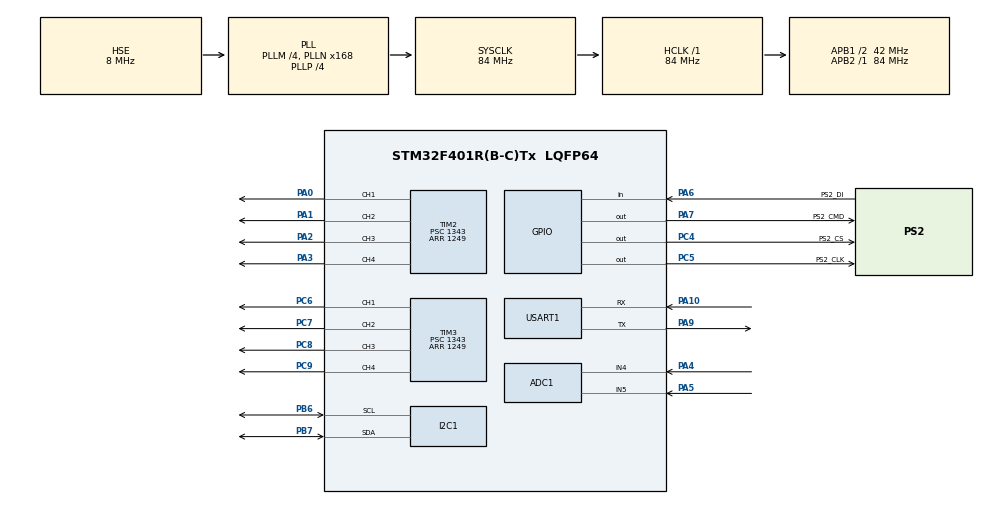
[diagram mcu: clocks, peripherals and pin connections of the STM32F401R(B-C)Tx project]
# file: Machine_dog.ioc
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ADC1.Channel-1\#ChannelRegularConversion=ADC_CHANNEL_4
ADC1.NbrOfConversionFlag=1
ADC1.Rank-1\#ChannelRegularConversion=1
ADC1.SamplingTime-1\#ChannelRegularConversion=ADC_SAMPLETIME_3CYCLES
ADC1.master=1
Mcu.Family=STM32F4
Mcu.Name=STM32F401R(B-C)Tx
Mcu.Package=LQFP64
NVIC.PriorityGroup=NVIC_PRIORITYGROUP_4
NVIC.TIM1_UP_TIM10_IRQn=true\:0\:0\:false\:false\:true\:true\:true\:true
NVIC.TIM5_IRQn=true\:0\:0\:false\:false\:true\:true\:true\:true
PA0-WKUP.Signal=S_TIM2_CH1_ETR
PA1.Signal=S_TIM2_CH2
PA10.Mode=Asynchronous
PA10.Signal=USART1_RX
PA13.Mode=Serial_Wire
PA13.Signal=SYS_JTMS-SWDIO
PA14.Mode=Serial_Wire
PA14.Signal=SYS_JTCK-SWCLK
PA2.Signal=S_TIM2_CH3
PA3.Signal=S_TIM2_CH4
PA4.Signal=ADCx_IN4
PA5.Signal=ADCx_IN5
PA6.GPIO_Label=PS2_DI
PA6.GPIO_PuPd=GPIO_PULLUP
PA6.Signal=GPIO_Input
PA7.GPIO_Label=PS2_CMD
PA7.GPIO_Speed=GPIO_SPEED_FREQ_HIGH
PA7.PinState=GPIO_PIN_SET
PA7.Signal=GPIO_Output
PA9.Mode=Asynchronous
PA9.Signal=USART1_TX
PB6.Mode=I2C
PB6.Signal=I2C1_SCL
PB7.Mode=I2C
PB7.Signal=I2C1_SDA
PC4.GPIO_Label=PS2_CS
PC4.GPIO_Speed=GPIO_SPEED_FREQ_HIGH
PC4.PinState=GPIO_PIN_SET
PC4.Signal=GPIO_Output
PC5.GPIO_Label=PS2_CLK
PC5.GPIO_Speed=GPIO_SPEED_FREQ_HIGH
PC5.PinState=GPIO_PIN_SET
PC5.Signal=GPIO_Output
PC6.Signal=S_TIM3_CH1
PC7.Signal=S_TIM3_CH2
PC8.Signal=S_TIM3_CH3
PC9.Signal=S_TIM3_CH4
PH0\ -\ OSC_IN.Mode=HSE-External-Oscillator
PH0\ -\ OSC_IN.Signal=RCC_OSC_IN
PH1\ -\ OSC_OUT.Mode=HSE-External-Oscillator
PH1\ -\ OSC_OUT.Signal=RCC_OSC_OUT
ProjectManager.HeapSize=0x200
ProjectManager.StackSize=0x400
ProjectManager.TargetToolchain=MDK-ARM V5.32
RCC.48MHZClocksFreq_Value=48000000
RCC.AHBFreq_Value=84000000
RCC.APB1CLKDivider=RCC_HCLK_DIV2
RCC.APB1Freq_Value=42000000
RCC.APB1TimFreq_Value=84000000
RCC.APB2Freq_Value=84000000
RCC.APB2TimFreq_Value=84000000
RCC.CortexFreq_Value=84000000
RCC.HCLKFreq_Value=84000000
RCC.HSE_VALUE=8000000
RCC.HSI_VALUE=16000000
RCC.LSE_VALUE=32768
RCC.PLLM=4
RCC.PLLN=168
RCC.PLLP=RCC_PLLP_DIV4
RCC.PLLQ=7
RCC.PLLSourceVirtual=RCC_PLLSOURCE_HSE
RCC.SYSCLKFreq_VALUE=84000000
RCC.SYSCLKSource=RCC_SYSCLKSOURCE_PLLCLK
RCC.VCOOutputFreq_Value=336000000
SH.ADCx_IN4.0=ADC1_IN4,IN4
SH.ADCx_IN5.0=ADC1_IN5,IN5
SH.S_TIM2_CH1_ETR.0=TIM2_CH1,PWM Generation1 CH1
SH.S_TIM2_CH2.0=TIM2_CH2,PWM Generation2 CH2
SH.S_TIM2_CH3.0=TIM2_CH3,PWM Generation3 CH3
SH.S_TIM2_CH4.0=TIM2_CH4,PWM Generation4 CH4
SH.S_TIM3_CH1.0=TIM3_CH1,PWM Generation1 CH1
SH.S_TIM3_CH2.0=TIM3_CH2,PWM Generation2 CH2
SH.S_TIM3_CH3.0=TIM3_CH3,PWM Generation3 CH3
SH.S_TIM3_CH4.0=TIM3_CH4,PWM Generation4 CH4
TIM1.AutoReloadPreload=TIM_AUTORELOAD_PRELOAD_ENABLE
TIM1.Period=999
TIM1.Prescaler=839
TIM2.AutoReloadPreload=TIM_AUTORELOAD_PRELOAD_ENABLE
TIM2.Channel-PWM\ Generation1\ CH1=TIM_CHANNEL_1
TIM2.Channel-PWM\ Generation2\ CH2=TIM_CHANNEL_2
TIM2.Channel-PWM\ Generation3\ CH3=TIM_CHANNEL_3
TIM2.Channel-PWM\ Generation4\ CH4=TIM_CHANNEL_4
TIM2.Period=1249
TIM2.Prescaler=1343
TIM3.AutoReloadPreload=TIM_AUTORELOAD_PRELOAD_ENABLE
TIM3.Channel-PWM\ Generation1\ CH1=TIM_CHANNEL_1
TIM3.Channel-PWM\ Generation2\ CH2=TIM_CHANNEL_2
TIM3.Channel-PWM\ Generation3\ CH3=TIM_CHANNEL_3
TIM3.Channel-PWM\ Generation4\ CH4=TIM_CHANNEL_4
TIM3.Period=1249
TIM3.Prescaler=1343
TIM4.AutoReloadPreload=TIM_AUTORELOAD_PRELOAD_ENABLE
TIM4.ClockDivision=TIM_CLOCKDIVISION_DIV1
TIM4.Prescaler=83
TIM5.AutoReloadPreload=TIM_AUTORELOAD_PRELOAD_ENABLE
TIM5.ClockDivision=TIM_CLOCKDIVISION_DIV2
TIM5.Period=99
TIM5.Prescaler=8399
USART1.VirtualMode=VM_ASYNC
VP_RTC_VS_RTC_Activate.Mode=RTC_Enabled
VP_RTC_VS_RTC_Calendar.Mode=RTC_Calendar
VP_TIM1_VS_ClockSourceINT.Mode=Internal
VP_TIM4_VS_ClockSourceINT.Mode=Internal
VP_TIM5_VS_ClockSourceINT.Mode=Internal
board=custom

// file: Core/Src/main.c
/* USER CODE BEGIN Header */
/**
  ******************************************************************************
  * @file           : main.c
  * @brief          : Main program body
  ******************************************************************************
  * @attention
  *
  * Copyright (c) 2026 STMicroelectronics.
  * All rights reserved.
  *
  * This software is licensed under terms that can be found in the LICENSE file
  * in the root directory of this software component.
  * If no LICENSE file comes with this software, it is provided AS-IS.
  *
  ******************************************************************************
  */
/* USER CODE END Header */
#include "main.h"
#include "adc.h"
#include "i2c.h"
#include "rtc.h"
#include "tim.h"
#include "usart.h"
#include "gpio.h"

/* USER CODE BEGIN Includes */
#include "init.h"
/* USER CODE END Includes */

/* USER CODE BEGIN PTD */
float s_an = 90;
void delay_ms(uint32_t ms)
{
    uint32_t i, j;
    for(i = 0; i < ms; i++)
        for(j = 0; j < 1000; j++);
}
/* USER CODE END PTD */

void SystemClock_Config(void);

/* USER CODE BEGIN 0 */
// 测试坐标（自己改）
float test_x = 0.0f;
float test_y = 0.11f;
float right_angle[2] = {0};

/* USER CODE END 0 */

int main(void)
{

  /* MCU Configuration--------------------------------------------------------*/

  /* Reset of all peripherals, Initializes the Flash interface and the Systick. */
  HAL_Init();

  /* Configure the system clock */
  SystemClock_Config();

  /* Initialize all configured peripherals */
  MX_GPIO_Init();
  MX_ADC1_Init();
  MX_I2C1_Init();
  MX_TIM2_Init();
  MX_TIM3_Init();
  MX_USART1_UART_Init();
  MX_RTC_Init();
  MX_TIM1_Init();
  MX_TIM4_Init();
  MX_TIM5_Init();
  /* USER CODE BEGIN 2 */
  uint32_t current_tick;
  All_init();
	// uint32_t start_tick = HAL_GetTick();
// 1. 先让机器狗站立
    Stand();
    delay_ms(1000);  // 站稳1秒

    float t = 0.0f;      // 步态时间 0~1
    float dt = 0.01f;    // 每帧步长（越小越快）

  /* USER CODE END 2 */

  /* Infinite loop */
  /* USER CODE BEGIN WHILE */

  while (1)
  {

    // 1. 扫描手柄数据
    // 用HAL_GetTick()做非阻塞延时，控制PS2扫描频率

        // ====================== 选一种运动 ======================
        // WalkForward(t);  // 同侧前进
        TrotForward(t);   // 对角小跑（更稳）
        // WalkBack(t);
        // TrotBack(t);
        // TurnLeft(50);
        // TurnRight(50);

        // 更新时间
        t += dt;

        // t 超过1就重置（循环步态）
        if(t >= 1.0f)
            t = 0.0f;

        // 必须延时！控制步态速度
        delay_ms(25);  // 10ms = 10000us

    // test();

    /* USER CODE END WHILE */

    /* USER CODE BEGIN 3 */
        // set_left_front_h_angle(s_an);
        // set_left_back_h_angle(angles[0]);
        // set_right_front_h_angle(angles[0]);
        // set_right_back_h_angle(angles[0]);

        // set_right_front_l_angle(s_an);
        // set_left_back_l_angle(s_an);
        // set_left_front_l_angle(s_an);
        // set_right_back_l_angle(s_an);
    // test();
  }
  /* USER CODE END 3 */
}

void SystemClock_Config(void)
{
  RCC_OscInitTypeDef RCC_OscInitStruct = {0};
  RCC_ClkInitTypeDef RCC_ClkInitStruct = {0};

  /** Configure the main internal regulator output voltage
  */
  __HAL_RCC_PWR_CLK_ENABLE();
  __HAL_PWR_VOLTAGESCALING_CONFIG(PWR_REGULATOR_VOLTAGE_SCALE2);

  /** Initializes the RCC Oscillators according to the specified parameters
  * in the RCC_OscInitTypeDef structure.
  */
  RCC_OscInitStruct.OscillatorType = RCC_OSCILLATORTYPE_LSI|RCC_OSCILLATORTYPE_HSE;
  RCC_OscInitStruct.HSEState = RCC_HSE_ON;
  RCC_OscInitStruct.LSIState = RCC_LSI_ON;
  RCC_OscInitStruct.PLL.PLLState = RCC_PLL_ON;
  RCC_OscInitStruct.PLL.PLLSource = RCC_PLLSOURCE_HSE;
  RCC_OscInitStruct.PLL.PLLM = 4;
  RCC_OscInitStruct.PLL.PLLN = 168;
  RCC_OscInitStruct.PLL.PLLP = RCC_PLLP_DIV4;
  RCC_OscInitStruct.PLL.PLLQ = 7;
  if (HAL_RCC_OscConfig(&RCC_OscInitStruct) != HAL_OK)
  {
    Error_Handler();
  }

  /** Initializes the CPU, AHB and APB buses clocks
  */
  RCC_ClkInitStruct.ClockType = RCC_CLOCKTYPE_HCLK|RCC_CLOCKTYPE_SYSCLK
                              |RCC_CLOCKTYPE_PCLK1|RCC_CLOCKTYPE_PCLK2;
  RCC_ClkInitStruct.SYSCLKSource = RCC_SYSCLKSOURCE_PLLCLK;
  RCC_ClkInitStruct.AHBCLKDivider = RCC_SYSCLK_DIV1;
  RCC_ClkInitStruct.APB1CLKDivider = RCC_HCLK_DIV2;
  RCC_ClkInitStruct.APB2CLKDivider = RCC_HCLK_DIV1;

  if (HAL_RCC_ClockConfig(&RCC_ClkInitStruct, FLASH_LATENCY_2) != HAL_OK)
  {
    Error_Handler();
  }
}

void Error_Handler(void)
{
  /* USER CODE BEGIN Error_Handler_Debug */
  /* User can add his own implementation to report the HAL error return state */
  /* 注释掉__disable_irq()，保留中断，才能查看调用栈 */
  // __disable_irq();

  /* 添加断点标记：在这里打一个红色断点，调试时会停在这里 */
  volatile uint32_t error_flag = 1; // 仅用于调试标记，无实际功能

  while (1)
  {
    /* 可选：若有LED，添加闪烁，直观判断进入错误处理 */
    // HAL_GPIO_TogglePin(GPIOB, GPIO_PIN_0);
    // HAL_Delay(500);
  }
  /* USER CODE END Error_Handler_Debug */
}
